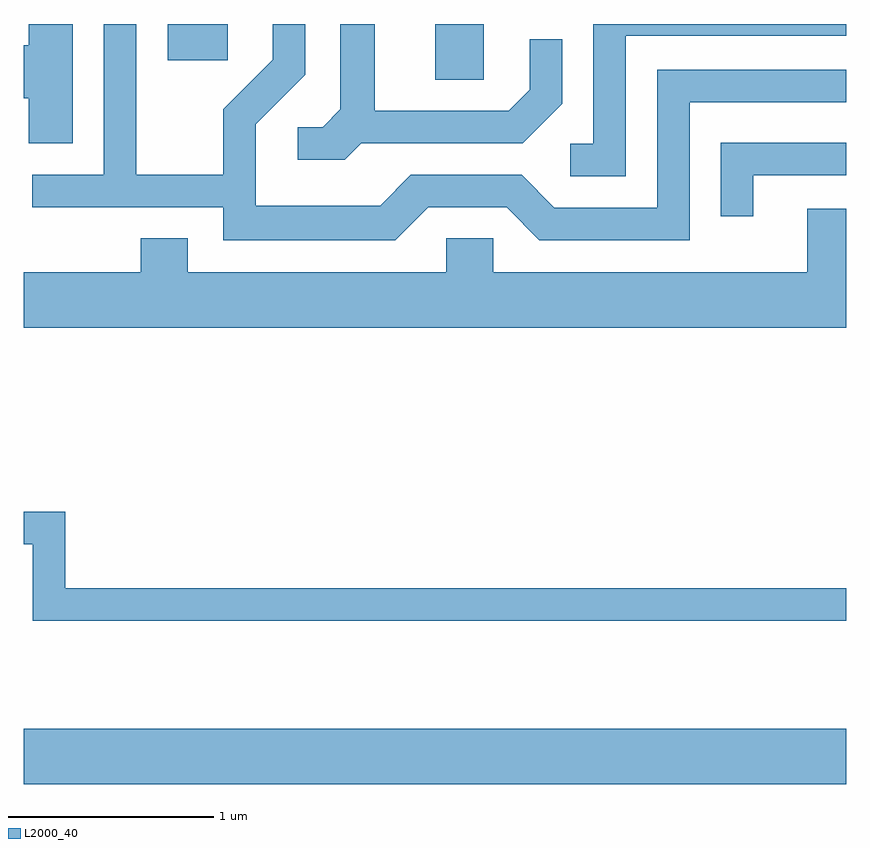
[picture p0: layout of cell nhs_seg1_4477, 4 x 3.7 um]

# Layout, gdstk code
import gdstk
lib = gdstk.Library(unit=1e-6, precision=1e-09)
def R(c, l, rs):  # rectangles x0, y0, x1, y1
    for r in rs: c.add(gdstk.rectangle(r[:2], r[2:], *l))
def P(c, l, *ps):  # polygons
    for p in ps: c.add(gdstk.Polygon(p, *l))
L2000_40 = (2000, 40)

nhs_seg1_4477 = lib.new_cell('nhs_seg1_4477')
R(nhs_seg1_4477, L2000_40, [(319.611,904.016,323.611,904.284), (321.611,907.441,321.849,907.712), (320.311,907.536,320.604,907.712)])
P(nhs_seg1_4477, L2000_40, [(321.577,906.821),(321.959,906.821),(322.119,906.661),(322.849,906.661),(322.849,907.331),(323.611,907.331),(323.611,907.489),(322.691,907.489),(322.691,906.819),(322.192,906.819),(322.032,906.979),(321.494,906.979),(321.344,906.829),(320.739,906.829),(320.739,907.224),(320.979,907.464),(320.979,907.712),(320.821,907.712),(320.821,907.537),(320.581,907.297),(320.581,906.979),(320.159,906.979),(320.159,907.712),(320.001,907.712),(320.001,906.979),(319.653,906.979),(319.653,906.821),(320.581,906.821),(320.581,906.661),(321.417,906.661)],
  [(319.849,907.712),(319.636,907.712),(319.636,907.609),(319.611,907.609),(319.611,907.351),(319.636,907.351),(319.636,907.131),(319.849,907.131)],
  [(322.539,907.656),(323.611,907.656),(323.611,907.712),(322.381,907.712),(322.381,907.129),(322.268,907.129),(322.268,906.971),(322.539,906.971)],
  [(321.252,907.131),(322.037,907.131),(322.229,907.324),(322.229,907.638),(322.071,907.638),(322.071,907.392),(321.969,907.289),(321.319,907.289),(321.319,907.712),(321.151,907.712),(321.151,907.297),(321.064,907.209),(320.943,907.209),(320.943,907.051),(321.172,907.051)],
  [(323.159,906.976),(323.611,906.976),(323.611,907.134),(323.001,907.134),(323.001,906.778),(323.159,906.778)],
  [(323.611,906.814),(323.421,906.814),(323.421,906.504),(321.894,906.504),(321.894,906.669),(321.666,906.669),(321.666,906.504),(320.409,906.504),(320.409,906.669),(320.181,906.669),(320.181,906.504),(319.611,906.504),(319.611,906.236),(323.611,906.236)],
  [(323.611,904.969),(319.814,904.969),(319.814,905.339),(319.611,905.339),(319.611,905.181),(319.656,905.181),(319.656,904.811),(323.611,904.811)])

lib.write_gds('nhs_seg1_4477.gds')
